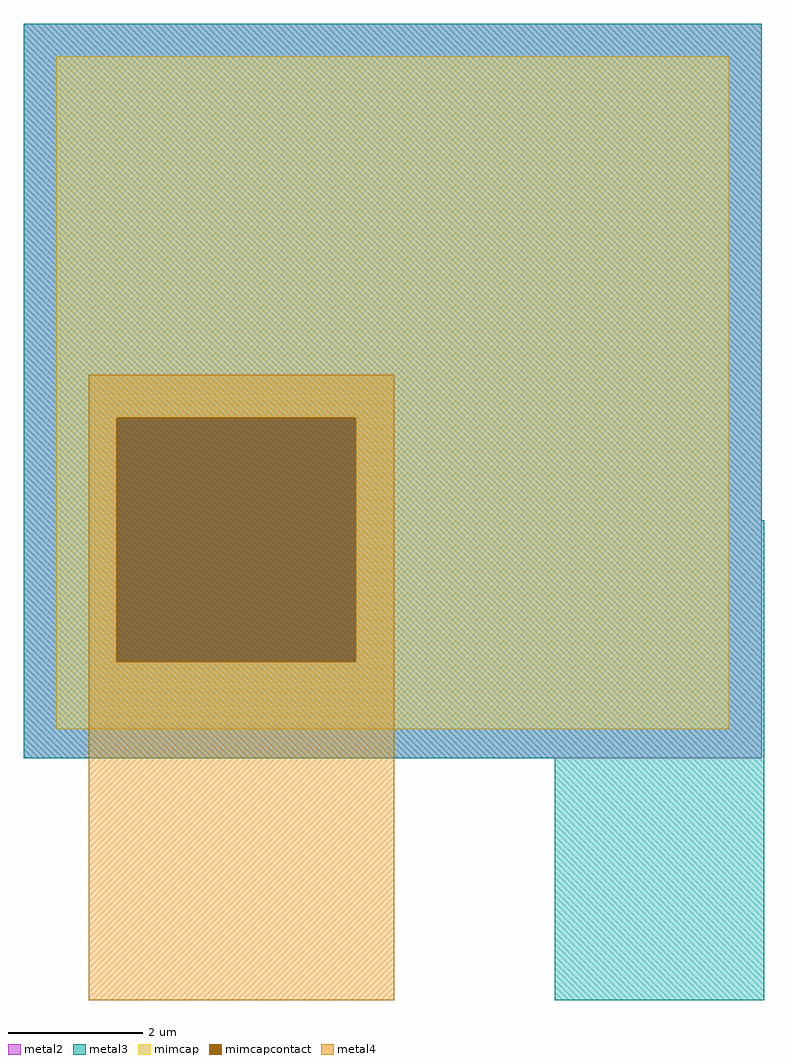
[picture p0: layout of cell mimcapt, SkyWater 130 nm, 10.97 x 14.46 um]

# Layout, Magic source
magic
tech sky130A
<< metal2 >>
rect -747 -444 346 644
<< metal3 >>
rect -747 -91 346 644
rect -747 -444 350 -91
rect 40 -802 350 -444
<< mimcap >>
rect -699 61 298 596
rect -699 -301 -609 61
rect -255 -301 298 61
rect -699 -401 298 -301
<< mimcapcontact >>
rect -609 -301 -255 61
<< metal4 >>
rect -651 61 -198 124
rect -651 -301 -609 61
rect -255 -301 -198 61
rect -651 -802 -198 -301
<< end >>
